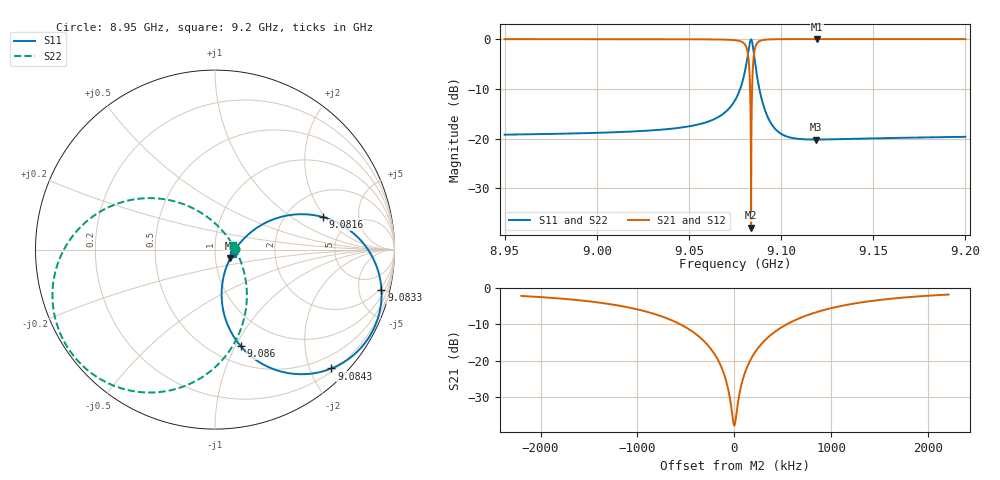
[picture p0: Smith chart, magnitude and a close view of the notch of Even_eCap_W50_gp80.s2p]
! Sonnet Data File
! From: emgraph Version : 16.52
! From Project: Resonator2_extremeCap
! Data is De-embedded
! Data File Written: 10/11/2017 17:55:30
!< HDATE 10/10/2017 20:37:37
!< MDATE 10/10/2017 20:37:37
!< PARAMS
!< Pwid1 = 2000.0
!< Pwid2 = 2000.0
!< Air_gap = 30.0
!< Width = 50.0
!< Gap = 80.0
!< END PARAMS
# GHZ S MA R 50.70000
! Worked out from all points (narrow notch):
!   1844 points, 8.95 GHz to 9.2 GHz, reference 50.7 ohm
!   highest |S21| = -0.04 dB at 9.1196 GHz (marker M1); lowest = -37.9 dB at 9.0837 GHz (marker M2)
!   notch at M2: 37.8 dB deep, 369 kHz wide at half that depth
!   lowest |S11| = -20.2 dB at 9.1188 GHz (marker M3), VSWR 1.22, Z = 60 - j5.64 ohm
!   |S11| at or under -10 dB: start of sweep to 9.0778 GHz; 9.0882 GHz to end of sweep
!   |S22| runs from -20.2 to -0.1 dB; largest |S21 - S12| = 0
!   S11 on the Smith chart (normalised r, x): 8.95 GHz: 1.25, +0.01; 9.0816 GHz: 3.15, +1.88; 9.0833 GHz: 1.56, -8.00; 9.0843 GHz: 0.25, -2.36; 9.086 GHz: 0.67, -1.05; 9.2 GHz: 1.22, -0.06
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8.95  0.1095 1.1  0.994 -88.1  0.994 -88.1  0.1095 2.7
!< P1 F=8.95 Eeff=(6.44048267 -2.9687e-5) Z0=(50.4065418 1.16289e-4) R=0.0 C=0.0
!< P2 F=8.95 Eeff=(6.44048267 -2.9687e-5) Z0=(50.4065418 1.16289e-4) R=0.0 C=0.0
8.9918  0.1131 2.7  0.9936 -88.8  0.9936 -88.8  0.1131 -0.3
9.0334  0.1222 7.1  0.9925 -90.0  0.9925 -90.0  0.1222 -7.2
9.075  0.2422 26.8  0.9698 -99.0  0.9698 -99.0  0.2419 -45.0
9.0794  0.3942 26.8  0.9175 -108.7  0.9175 -108.7  0.3935 -64.7
9.0816  0.627 16.8  0.7738 -124.6  0.7738 -124.6  0.6256 -87.1
9.082582  0.8184 3.2  0.5617 -140.8  0.5617 -140.8  0.8165 -106.9
9.083286  0.9549 -13.7  0.2595 -158.4  0.2595 -158.4  0.9526 -128.5
9.083587  0.9847 -22.8  0.08832 -162.9  0.08832 -162.9  0.9823 -139.5
9.083733  0.9884 -27.4  0.01279 -83.0  0.01279 -83.0  0.9859 -145.1
9.08382  0.9869 -30.1  0.05513 -12.7  0.05513 -12.7  0.9844 -148.5
9.083918  0.9819 -33.2  0.1144 -9.2  0.1144 -9.2  0.9794 -152.3
9.084327  0.927 -45.6  0.3462 -18.6  0.3462 -18.6  0.9246 -167.5
9.085018  0.7674 -62.0  0.6296 -36.4  0.6296 -36.4  0.7653 171.1
9.086  0.5583 -75.0  0.8247 -52.7  0.8247 -52.7  0.5567 150.6
9.089009  0.2695 -82.1  0.9619 -71.7  0.9619 -71.7  0.2687 119.3
9.0956  0.1331 -65.3  0.9909 -81.1  0.9909 -81.1  0.1327 83.3
9.1168  0.09789 -29.9  0.9952 -86.3  0.9952 -86.3  0.09783 37.3
9.118797  0.09785 -28.4  0.9952 -86.5  0.9952 -86.5  0.0978 35.5
9.1196  0.09785 -27.9  0.9952 -86.5  0.9952 -86.5  0.0978 34.8
9.1584  0.1013 -16.1  0.9949 -88.3  0.9949 -88.3  0.1013 19.6
9.2  0.1041 -12.8  0.9946 -89.1  0.9946 -89.1  0.1041 14.5
